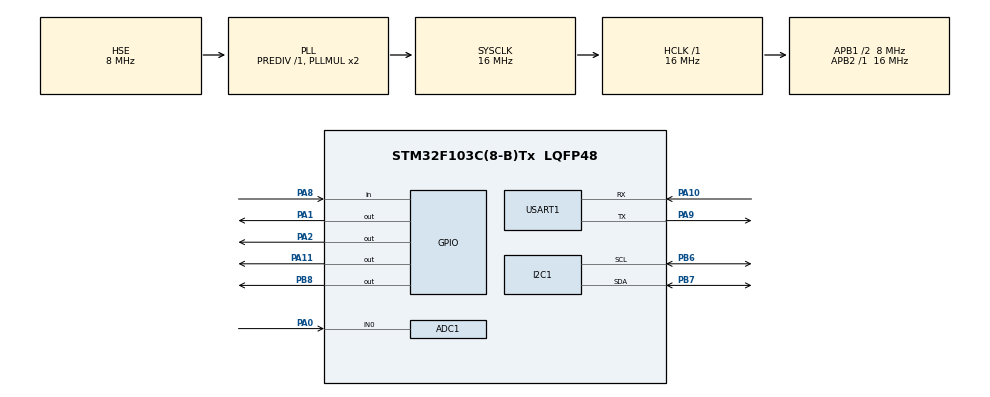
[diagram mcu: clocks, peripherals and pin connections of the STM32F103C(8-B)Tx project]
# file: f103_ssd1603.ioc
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ADC1.Channel-0\#ChannelRegularConversion=ADC_CHANNEL_0
ADC1.ContinuousConvMode=DISABLE
ADC1.NbrOfConversionFlag=1
ADC1.Rank-0\#ChannelRegularConversion=1
ADC1.SamplingTime-0\#ChannelRegularConversion=ADC_SAMPLETIME_239CYCLES_5
ADC1.master=1
I2C1.I2C_Mode=I2C_Standard
Mcu.Family=STM32F1
Mcu.Name=STM32F103C(8-B)Tx
Mcu.Package=LQFP48
NVIC.PriorityGroup=NVIC_PRIORITYGROUP_4
PA0-WKUP.Signal=ADCx_IN0
PA1.GPIO_PuPd=GPIO_PULLUP
PA1.PinState=GPIO_PIN_SET
PA1.Signal=GPIO_Output
PA10.Mode=Asynchronous
PA10.Signal=USART1_RX
PA11.Signal=GPIO_Output
PA13.Mode=Serial_Wire
PA13.Signal=SYS_JTMS-SWDIO
PA14.Mode=Serial_Wire
PA14.Signal=SYS_JTCK-SWCLK
PA2.GPIO_PuPd=GPIO_PULLUP
PA2.PinState=GPIO_PIN_SET
PA2.Signal=GPIO_Output
PA8.Signal=GPIO_Input
PA9.Mode=Asynchronous
PA9.Signal=USART1_TX
PB6.Mode=I2C
PB6.Signal=I2C1_SCL
PB7.Mode=I2C
PB7.Signal=I2C1_SDA
PB8.Signal=GPIO_Output
PD0-OSC_IN.Mode=HSE-External-Oscillator
PD0-OSC_IN.Signal=RCC_OSC_IN
PD1-OSC_OUT.Mode=HSE-External-Oscillator
PD1-OSC_OUT.Signal=RCC_OSC_OUT
ProjectManager.HeapSize=0x200
ProjectManager.StackSize=0x400
ProjectManager.TargetToolchain=STM32CubeIDE
RCC.AHBFreq_Value=16000000
RCC.APB1CLKDivider=RCC_HCLK_DIV2
RCC.APB1Freq_Value=8000000
RCC.APB1TimFreq_Value=16000000
RCC.APB2Freq_Value=16000000
RCC.APB2TimFreq_Value=16000000
RCC.HCLKFreq_Value=16000000
RCC.PLLSourceVirtual=RCC_PLLSOURCE_HSE
RCC.SYSCLKFreq_VALUE=16000000
RCC.SYSCLKSource=RCC_SYSCLKSOURCE_PLLCLK
RCC.USBFreq_Value=16000000
SH.ADCx_IN0.0=ADC1_IN0,IN0
USART1.VirtualMode=VM_ASYNC
board=custom

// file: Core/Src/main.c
/* USER CODE BEGIN Header */
/**
  ******************************************************************************
  * @file           : main.c
  * @brief          : Main program body
  ******************************************************************************
  * @attention
  *
  * Copyright (c) 2025 STMicroelectronics.
  * All rights reserved.
  *
  * This software is licensed under terms that can be found in the LICENSE file
  * in the root directory of this software component.
  * If no LICENSE file comes with this software, it is provided AS-IS.
  *
  ******************************************************************************
  */
/* USER CODE END Header */
#include "main.h"
#include "adc.h"
#include "i2c.h"
#include "usart.h"
#include "gpio.h"

/* USER CODE BEGIN Includes */
#include "ssd1306.h"
#include "bme280.h"
#include "stepmotor.h"
#include "hx711.h"
#include <stdio.h>
#include <math.h>
#include <string.h>

/* USER CODE END Includes */

/* USER CODE BEGIN PTD */
hx711_t sensor;
BME280_Data_t BME280;
/* USER CODE END PTD */

void SystemClock_Config(void);
/* USER CODE BEGIN PFP */
void Sensor_Init(void);
/* USER CODE END PFP */

/* USER CODE BEGIN 0 */
char buf[32];
/* USER CODE END 0 */
void Sensor_Init(void)
{

  //Init structure definition section
  BME280_Init_t BME280_InitStruct = {0};

  //Reset section
  Reset_BME280();

  /*============================ *BME280 Initialization* ============================*/

  BME280_InitStruct.Filter = FILTER_8;            //FILTER_X
  BME280_InitStruct.Mode = BME280_NORMAL_MODE;      //SLEEP, NORMAL or FORCE can be written
  BME280_InitStruct.OverSampling_H = OVERSAMPLING_16;   //OVERSAMPLING_X
  BME280_InitStruct.OverSampling_P = OVERSAMPLING_16;   //OVERSAMPLING_X
  BME280_InitStruct.OverSampling_T = OVERSAMPLING_16;   //OVERSAMPLING_X
  BME280_InitStruct.SPI_EnOrDıs = SPI3_W_DISABLE;     //SPI3_W_DISABLE or SPI3_W_ENABLE can be written
  BME280_InitStruct.T_StandBy = T_SB_250;         //T_SB_X

  BME280Init(BME280_InitStruct);
}
int main(void)
{

  /* MCU Configuration--------------------------------------------------------*/

  /* Reset of all peripherals, Initializes the Flash interface and the Systick. */
  HAL_Init();

  /* Configure the system clock */
  SystemClock_Config();

  /* Initialize all configured peripherals */
  MX_GPIO_Init();
  MX_I2C1_Init();
  MX_USART1_UART_Init();
  MX_ADC1_Init();

  /* USER CODE BEGIN 2 */
  ssd1306_init();

  ssd1306_set_cursor(5, 0);

  ssd1306_write_string(font6x8, "Rotech ssd1603");
  ssd1306_enter();
  ssd1306_set_cursor(5, 8);
  ssd1306_write_string(font6x8, "load cell test");

  ssd1306_set_cursor(5, 24);
  ssd1306_write_string(font6x8, "         ");

  ssd1306_set_cursor(5, 40);
  ssd1306_write_string(font11x18, "            ");
  ssd1306_update_screen();
  /* USER CODE END 2 */
uint32_t count = 0;
float weight = 0;
int32_t low = 0;

  hx711_init(&sensor, GPIOA, GPIO_PIN_8, GPIOB, GPIO_PIN_8);
  //hx711_tare(&sensor, 10);
  hx711_calibration(&sensor,8701460,8748208,354.5);
  //hx711_coef_set(&sensor, 467.56); // read afer calibration

  Sensor_Init();

  uint32_t pre_time;
  /* Infinite loop */
  while (1)
  {
    pre_time = HAL_GetTick();
    BME280Calculation(&BME280);

    weight = hx711_weight(&sensor,1);
    snprintf(buf, sizeof(buf), "  %4.2f kg", weight);

    ssd1306_set_cursor(5, 40);
    ssd1306_write_string(font11x18, buf);

    count = HAL_GetTick()- pre_time;
    snprintf(buf, sizeof(buf), "FPS(ms) : %d", (int)count);
    ssd1306_set_cursor(5, 24);
    ssd1306_write_string(font6x8, buf);
    ssd1306_update_screen();

  }
}

void SystemClock_Config(void)
{
  RCC_OscInitTypeDef RCC_OscInitStruct = {0};
  RCC_ClkInitTypeDef RCC_ClkInitStruct = {0};
  RCC_PeriphCLKInitTypeDef PeriphClkInit = {0};

  /** Initializes the RCC Oscillators according to the specified parameters
  * in the RCC_OscInitTypeDef structure.
  */
  RCC_OscInitStruct.OscillatorType = RCC_OSCILLATORTYPE_HSE;
  RCC_OscInitStruct.HSEState = RCC_HSE_ON;
  RCC_OscInitStruct.HSEPredivValue = RCC_HSE_PREDIV_DIV1;
  RCC_OscInitStruct.HSIState = RCC_HSI_ON;
  RCC_OscInitStruct.PLL.PLLState = RCC_PLL_ON;
  RCC_OscInitStruct.PLL.PLLSource = RCC_PLLSOURCE_HSE;
  RCC_OscInitStruct.PLL.PLLMUL = RCC_PLL_MUL2;
  if (HAL_RCC_OscConfig(&RCC_OscInitStruct) != HAL_OK)
  {
    Error_Handler();
  }

  /** Initializes the CPU, AHB and APB buses clocks
  */
  RCC_ClkInitStruct.ClockType = RCC_CLOCKTYPE_HCLK|RCC_CLOCKTYPE_SYSCLK
                              |RCC_CLOCKTYPE_PCLK1|RCC_CLOCKTYPE_PCLK2;
  RCC_ClkInitStruct.SYSCLKSource = RCC_SYSCLKSOURCE_PLLCLK;
  RCC_ClkInitStruct.AHBCLKDivider = RCC_SYSCLK_DIV1;
  RCC_ClkInitStruct.APB1CLKDivider = RCC_HCLK_DIV2;
  RCC_ClkInitStruct.APB2CLKDivider = RCC_HCLK_DIV1;

  if (HAL_RCC_ClockConfig(&RCC_ClkInitStruct, FLASH_LATENCY_0) != HAL_OK)
  {
    Error_Handler();
  }
  PeriphClkInit.PeriphClockSelection = RCC_PERIPHCLK_ADC;
  PeriphClkInit.AdcClockSelection = RCC_ADCPCLK2_DIV2;
  if (HAL_RCCEx_PeriphCLKConfig(&PeriphClkInit) != HAL_OK)
  {
    Error_Handler();
  }
}

/* USER CODE BEGIN 4 */
uint32_t millis(void)
{
  return HAL_GetTick();
}
/* USER CODE END 4 */

void Error_Handler(void)
{
  __disable_irq();
  while (1)
  {
  }
}
